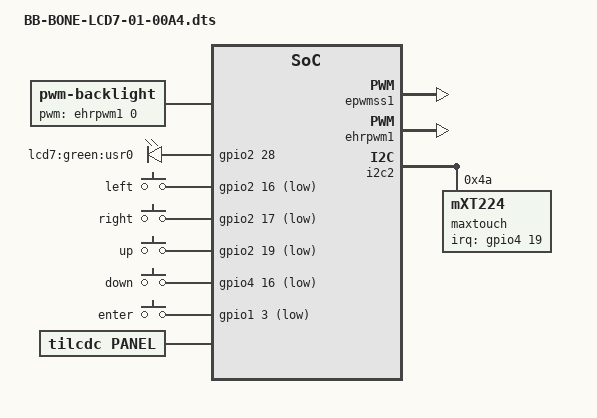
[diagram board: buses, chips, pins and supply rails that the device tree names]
/*
 * Copyright (C) 2012 Texas Instruments Incorporated - http://www.ti.com/
 *
 * This program is free software; you can redistribute it and/or modify
 * it under the terms of the GNU General Public License version 2 as
 * published by the Free Software Foundation.
 */
/dts-v1/;
/plugin/;

/ {
	compatible = "ti,beaglebone", "ti,beaglebone-black";

	/* identification */
	part-number = "BB-BONE-LCD7-01";
	version = "00A4";

	/* state the resources this cape uses */
	exclusive-use =
		/* the pin header uses */
		"P8.45",	/* lcd: lcd_data0 */
		"P8.46",	/* lcd: lcd_data1 */
		"P8.43",	/* lcd: lcd_data2 */
		"P8.44",	/* lcd: lcd_data3 */
		"P8.41",	/* lcd: lcd_data4 */
		"P8.42",	/* lcd: lcd_data5 */
		"P8.39",	/* lcd: lcd_data6 */
		"P8.40",	/* lcd: lcd_data7 */
		"P8.37",	/* lcd: lcd_data8 */
		"P8.38",	/* lcd: lcd_data9 */
		"P8.36",	/* lcd: lcd_data10 */
		"P8.34",	/* lcd: lcd_data11 */
		"P8.35",	/* lcd: lcd_data12 */
		"P8.33",	/* lcd: lcd_data13 */
		"P8.31",	/* lcd: lcd_data14 */
		"P8.32",	/* lcd: lcd_data15 */
		"P8.27",	/* lcd: lcd_vsync */
		"P8.29",	/* lcd: lcd_hsync */
		"P8.28",	/* lcd: lcd_pclk */
		"P8.30",	/* lcd: lcd_ac_bias_en */
		"P9.22",	/* lcd: gpio0_2 */
		"P9.12",	/* led: gpio1_28 */
		"P9.14",	/* pwm: ehrpwm1a */
		"P9.15",	/* keys: gpio1_16 */
		"P9.23",	/* keys: gpio1_17 */
		"P9.16",	/* keys: gpio1_19 */
		"P9.30",	/* keys: gpio3_16 */
		"P9.21",	/* keys: gpio0_3 */
		"P9.27",	/* captouch: gpio3_19 */
		/* the hardware IP uses */
		"gpio0_2",
		"gpio1_28",
		"gpio1_16",
		"gpio1_17",
		"gpio1_19",
		"gpio3_16",
		"gpio3_19",
		"gpio0_3",
		"lcd",
		"ehrpwm1a";

	fragment@0 {
		target = <&am33xx_pinmux>;
		__overlay__ {

			bone_lcd7_cape_led_00A4_pins: pinmux_bone_lcd7_cape_led_00A4_pins {
				pinctrl-single,pins = <
					0x078 0x2f	/* gpmc_ben1.gpio1_28, INPUT | PULLDIS | MODE7 */
				>;
			};

			pwm_bl_pins: pinmux_pwm_bl_pins {
				pinctrl-single,pins = <
					0x48 0x06       /* gpmc_a2.ehrpwm1a, OMAP_MUX_MODE6 | AM33XX_PIN_OUTPUT */
				>;
			};

			bone_lcd7_cape_lcd_pins: pinmux_bone_lcd7_cape_lcd_pins {
				pinctrl-single,pins = <
					0x150 0x07	/* spi0_sclk.gpio0_2, OUTPUT | MODE7 - AVDD_EN */
					0xa0 0x08	/* lcd_data0.lcd_data0, OMAP_MUX_MODE0 | AM33XX_PIN_OUTPUT | AM33XX_PULL_DISA */
					0xa4 0x08	/* lcd_data1.lcd_data1, OMAP_MUX_MODE0 | AM33XX_PIN_OUTPUT | AM33XX_PULL_DISA */
					0xa8 0x08	/* lcd_data2.lcd_data2, OMAP_MUX_MODE0 | AM33XX_PIN_OUTPUT | AM33XX_PULL_DISA */
					0xac 0x08	/* lcd_data3.lcd_data3, OMAP_MUX_MODE0 | AM33XX_PIN_OUTPUT | AM33XX_PULL_DISA */
					0xb0 0x08	/* lcd_data4.lcd_data4, OMAP_MUX_MODE0 | AM33XX_PIN_OUTPUT | AM33XX_PULL_DISA */
					0xb4 0x08	/* lcd_data5.lcd_data5, OMAP_MUX_MODE0 | AM33XX_PIN_OUTPUT | AM33XX_PULL_DISA */
					0xb8 0x08	/* lcd_data6.lcd_data6, OMAP_MUX_MODE0 | AM33XX_PIN_OUTPUT | AM33XX_PULL_DISA */
					0xbc 0x08	/* lcd_data7.lcd_data7, OMAP_MUX_MODE0 | AM33XX_PIN_OUTPUT | AM33XX_PULL_DISA */
					0xc0 0x08	/* lcd_data8.lcd_data8, OMAP_MUX_MODE0 | AM33XX_PIN_OUTPUT | AM33XX_PULL_DISA */
					0xc4 0x08	/* lcd_data9.lcd_data9, OMAP_MUX_MODE0 | AM33XX_PIN_OUTPUT | AM33XX_PULL_DISA */
					0xc8 0x08	/* lcd_data10.lcd_data10, OMAP_MUX_MODE0 | AM33XX_PIN_OUTPUT | AM33XX_PULL_DISA */
					0xcc 0x08	/* lcd_data11.lcd_data11, OMAP_MUX_MODE0 | AM33XX_PIN_OUTPUT | AM33XX_PULL_DISA */
					0xd0 0x08	/* lcd_data12.lcd_data12, OMAP_MUX_MODE0 | AM33XX_PIN_OUTPUT | AM33XX_PULL_DISA */
					0xd4 0x08	/* lcd_data13.lcd_data13, OMAP_MUX_MODE0 | AM33XX_PIN_OUTPUT | AM33XX_PULL_DISA */
					0xd8 0x08	/* lcd_data14.lcd_data14, OMAP_MUX_MODE0 | AM33XX_PIN_OUTPUT | AM33XX_PULL_DISA */
					0xdc 0x08	/* lcd_data15.lcd_data15, OMAP_MUX_MODE0 | AM33XX_PIN_OUTPUT | AM33XX_PULL_DISA */
					0xe0 0x00	/* lcd_vsync.lcd_vsync, OMAP_MUX_MODE0 | AM33XX_PIN_OUTPUT */
					0xe4 0x00	/* lcd_hsync.lcd_hsync, OMAP_MUX_MODE0 | AM33XX_PIN_OUTPUT */
					0xe8 0x00	/* lcd_pclk.lcd_pclk, OMAP_MUX_MODE0 | AM33XX_PIN_OUTPUT */
					0xec 0x00	/* lcd_ac_bias_en.lcd_ac_bias_en, OMAP_MUX_MODE0 | AM33XX_PIN_OUTPUT */
				>;
			};

			bone_lcd7_cape_keys_00A4_pins: pinmux_bone_lcd7_cape_keys_00A4_pins {
				pinctrl-single,pins = <
					0x040 0x2f	/* KEY_LEFT gpmc_a0.gpio1_16, INPUT | PULLDIS | MODE7 */
					0x044 0x2f	/* KEY_RIGHT gpmc_a1.gpio1_17, INPUT | PULLDIS | MODE7 */
					0x04c 0x2f 	/* KEY_UP gpmc_a3.gpio1_19, INPUT | PULLDIS | MODE7 */
					0x198 0x2f	/* KEY_DOWN mcasp0_axr0.gpio3_16, INPUT | PULLDIS | MODE7 */
					0x154 0x2f	/* KEY_ENTER spi0_d0.gpio0_3, INPUT | PULLDIS | MODE7 */

					/* the next one should be in the tsc driver */
					0x1a4 0x2f	/* TSC_INTn mcasp0_fsr.gpio3_19, INPUT | PULLDIS | MODE7 */
				>;
			};

		};
	};

	fragment@1 {
		target = <&epwmss1>;
		__overlay__ {
			status = "okay";
		};
	};

	fragment@2 {
		target = <&ehrpwm1>;
		__overlay__ {
			status = "okay";
		};
	};

	fragment@3 {
		target = <&ocp>;

		__overlay__ {

			/* avoid stupid warning */
			#address-cells = <1>;
			#size-cells = <1>;

			backlight {
				compatible      = "pwm-backlight";
				pinctrl-names   = "default";
				pinctrl-0       = <&pwm_bl_pins>;
				status = "okay";

				pwms = <&ehrpwm1 0 500000 0>;
				pwm-names = "LCD7";
				brightness-levels = <0 1 2 3 4 5 6 7 8 9 10 11 12 13 14 15 16 17 18 19 20 21 22 23 24 25 26 27 28 29 30 31 32 33 34 35 36 37 38 39 40 41 42 43 44 45 46 47 48 49 50 51 52 53 54 55 56 57 58 59 60 61 62 63 64 65 66 67 68 69 70 71 72 73 74 75 76 77 78 79 80 81 82 83 84 85 86 87 88 89 90 91 92 93 94 95 96 97 98 99 100>;
				default-brightness-level = <50>; /* index to the array above */
			};

			gpio-leds-cape-lcd7 {
				compatible = "gpio-leds";
				pinctrl-names = "default";

				pinctrl-0 = <&bone_lcd7_cape_led_00A4_pins>;

				lcd7-led0 {
					label = "lcd7:green:usr0";
					gpios = <&gpio2 28 0>;
					linux,default-trigger = "heartbeat";
					default-state = "off";
				};

			};

			gpio_keys {
				compatible = "gpio-keys";
				pinctrl-names = "default";
				pinctrl-0 = <&bone_lcd7_cape_keys_00A4_pins>;

				#address-cells = <1>;
				#size-cells = <0>;

				button@1 {
					debounce_interval = <50>;
					linux,code = <105>;
					label = "left";
					gpios = <&gpio2 16 0x1>;
					gpio-key,wakeup;
					autorepeat;
				};
				button@2 {
					debounce_interval = <50>;
					linux,code = <106>;
					label = "right";
					gpios = <&gpio2 17 0x1>;
					gpio-key,wakeup;
					autorepeat;
				};
				button@3 {
					debounce_interval = <50>;
					linux,code = <103>;
					label = "up";
					gpios = <&gpio2 19 0x1>;
					gpio-key,wakeup;
					autorepeat;
				};
				button@4 {
					debounce_interval = <50>;
					linux,code = <108>;
					label = "down";
					gpios = <&gpio4 16 0x1>;
					gpio-key,wakeup;
					autorepeat;
				};
				button@5 {
					debounce_interval = <50>;
					linux,code = <28>;
					label = "enter";
					gpios = <&gpio1 3 0x1>;
					gpio-key,wakeup;
				};
			};

			/* Settings for ThreeFive S9700RTWV35TR / LCD7 cape: */
			panel {
				compatible = "tilcdc,panel";
				pinctrl-names = "default";
				pinctrl-0 = <&bone_lcd7_cape_lcd_pins>;
				panel-info {
					ac-bias           = <255>;
					ac-bias-intrpt    = <0>;
					dma-burst-sz      = <16>;
					bpp               = <16>;
					fdd               = <0x80>;
					tft-alt-mode      = <0>;
					stn-565-mode      = <0>;
					mono-8bit-mode    = <0>;
					sync-edge         = <0>;
					sync-ctrl         = <1>;
					raster-order      = <0>;
					fifo-th           = <0>;
					invert-pxl-clk;
				};
				display-timings {
					native-mode = <&timing0>;
					timing0: 800x480 {
						hactive         = <800>;
						vactive         = <480>;
						hback-porch     = <40>;
						hfront-porch    = <40>;
						hsync-len       = <48>;
						vback-porch     = <30>;
						vfront-porch    = <13>;
						vsync-len       = <2>;
						clock-frequency = <30000000>;
						hsync-active    = <0>;
						vsync-active    = <0>;
					};
				};
			};

			fb {
				compatible = "ti,am33xx-tilcdc";
				reg = <0x4830e000 0x1000>;
				interrupt-parent = <&intc>;
				interrupts = <36>;
				ti,hwmods = "lcdc";
				ti,power-gpio = <&gpio1 2 0x0>;
				ti,allow-non-reduced-blanking-modes;
			};

		};
	};

       fragment@4 {
               target = <&i2c2>;

               __overlay__ {
		       /* needed to avoid gripping by DTC */
		       #address-cells = <1>;
		       #size-cells = <0>;

			maxtouch@4a {
				compatible = "mXT224";
				reg = <0x4a>;
				interrupt-parent = <&gpio4>;
				interrupts = <19 0x0>;
				atmel,irq-gpio = <&gpio4 19 0>;
			};
               };
       };
};
